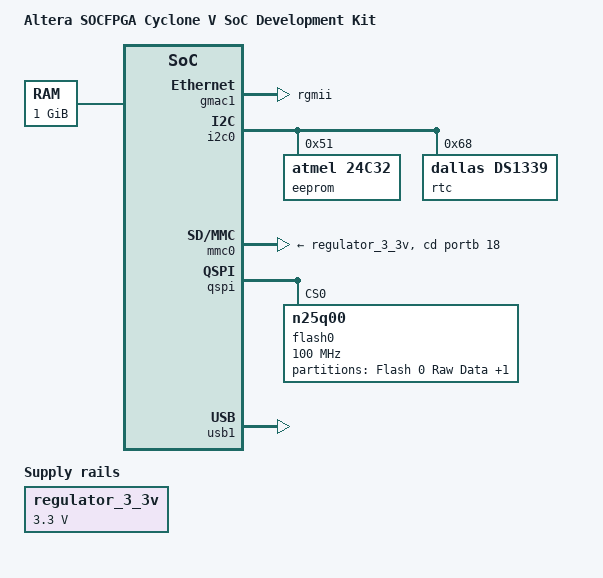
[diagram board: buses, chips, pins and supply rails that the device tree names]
/*
 *  Copyright (C) 2012 Altera Corporation <www.altera.com>
 *
 * This program is free software; you can redistribute it and/or modify
 * it under the terms of the GNU General Public License as published by
 * the Free Software Foundation; either version 2 of the License, or
 * (at your option) any later version.
 *
 * This program is distributed in the hope that it will be useful,
 * but WITHOUT ANY WARRANTY; without even the implied warranty of
 * MERCHANTABILITY or FITNESS FOR A PARTICULAR PURPOSE.  See the
 * GNU General Public License for more details.
 *
 * You should have received a copy of the GNU General Public License
 * along with this program.  If not, see <http://www.gnu.org/licenses/>.
 */

#include "socfpga_cyclone5.dtsi"

/ {
	model = "Altera SOCFPGA Cyclone V SoC Development Kit";
	compatible = "altr,socfpga-cyclone5-socdk", "altr,socfpga-cyclone5", "altr,socfpga";

	chosen {
		bootargs = "earlyprintk";
		stdout-path = "serial0:115200n8";
	};

	memory {
		name = "memory";
		device_type = "memory";
		reg = <0x0 0x40000000>; /* 1GB */
	};

	aliases {
		/* this allow the ethaddr uboot environmnet variable contents
		 * to be added to the gmac1 device tree blob.
		 */
		ethernet0 = &gmac1;
	};

	regulator_3_3v: 3-3-v-regulator {
		compatible = "regulator-fixed";
		regulator-name = "3.3V";
		regulator-min-microvolt = <3300000>;
		regulator-max-microvolt = <3300000>;
	};
};

&gmac1 {
	status = "okay";
	phy-mode = "rgmii";

	rxd0-skew-ps = <0>;
	rxd1-skew-ps = <0>;
	rxd2-skew-ps = <0>;
	rxd3-skew-ps = <0>;
	txen-skew-ps = <0>;
	txc-skew-ps = <2600>;
	rxdv-skew-ps = <0>;
	rxc-skew-ps = <2000>;
};

&gpio1 {
	status = "okay";
};

&i2c0 {
	status = "okay";

	eeprom@51 {
		compatible = "atmel,24c32";
		reg = <0x51>;
		pagesize = <32>;
	};

	rtc@68 {
		compatible = "dallas,ds1339";
		reg = <0x68>;
	};
};

&mmc0 {
	cd-gpios = <&portb 18 0>;
	vmmc-supply = <&regulator_3_3v>;
	vqmmc-supply = <&regulator_3_3v>;
	status = "okay";
};

&qspi {
	status = "okay";

	flash0: n25q00@0 {
		#address-cells = <1>;
		#size-cells = <1>;
		compatible = "n25q00";
		reg = <0>;	/* chip select */
		spi-max-frequency = <100000000>;

		m25p,fast-read;
		cdns,page-size = <256>;
		cdns,block-size = <16>;
		cdns,read-delay = <4>;
		cdns,tshsl-ns = <50>;
		cdns,tsd2d-ns = <50>;
		cdns,tchsh-ns = <4>;
		cdns,tslch-ns = <4>;

		partition@qspi-boot {
			/* 8MB for raw data. */
			label = "Flash 0 Raw Data";
			reg = <0x0 0x800000>;
		};

		partition@qspi-rootfs {
			/* 120MB for jffs2 data. */
			label = "Flash 0 jffs2 Filesystem";
			reg = <0x800000 0x7800000>;
		};
	};
};

&usb1 {
	status = "okay";
};
